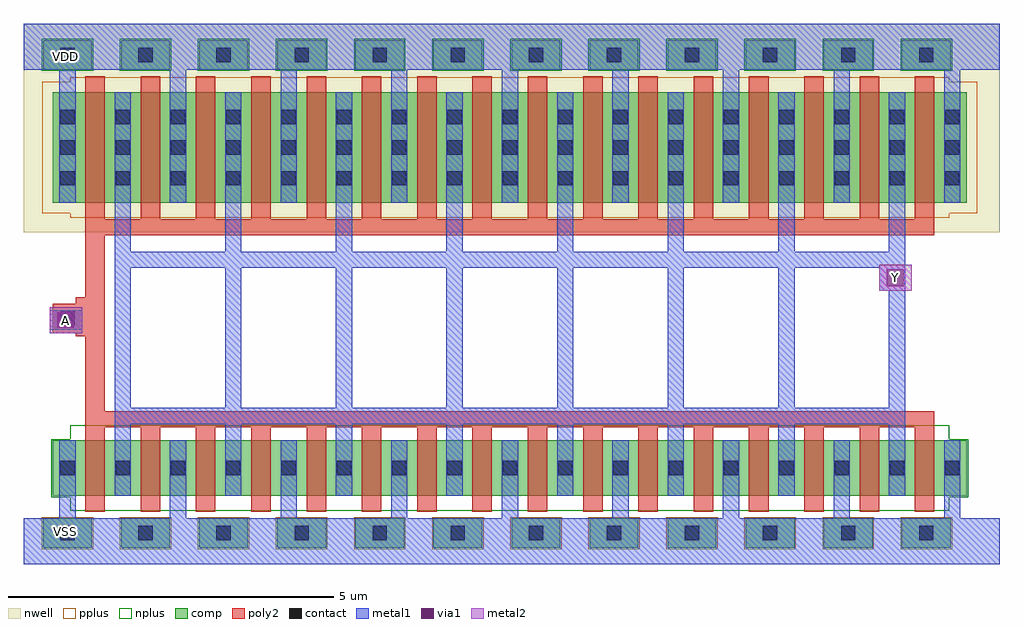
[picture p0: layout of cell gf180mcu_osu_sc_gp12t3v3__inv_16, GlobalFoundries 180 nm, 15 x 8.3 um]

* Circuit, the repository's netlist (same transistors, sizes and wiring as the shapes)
* Copyright 2022 Google LLC
*
* Licensed under the Apache License, Version 2.0 (the "License");
* you may not use this file except in compliance with the License.
* You may obtain a copy of the License at
*
*      http://www.apache.org/licenses/LICENSE-2.0
*
* Unless required by applicable law or agreed to in writing, software
* distributed under the License is distributed on an "AS IS" BASIS,
* WITHOUT WARRANTIES OR CONDITIONS OF ANY KIND, either express or implied.
* See the License for the specific language governing permissions and
* limitations under the License.

.option scale=0.05u

.subckt gf180mcu_osu_sc_gp12t3v3__inv_16 A Y
X0 VDD A Y VDD pmos_3p3 w=34 l=6
X1 Y A VDD VDD pmos_3p3 w=34 l=6
X2 Y A VSS VSS nmos_3p3 w=17 l=6
X3 VDD A Y VDD pmos_3p3 w=34 l=6
X4 Y A VSS VSS nmos_3p3 w=17 l=6
X5 VDD A Y VDD pmos_3p3 w=34 l=6
X6 Y A VDD VDD pmos_3p3 w=34 l=6
X7 Y A VDD VDD pmos_3p3 w=34 l=6
X8 VSS A Y VSS nmos_3p3 w=17 l=6
X9 VDD A Y VDD pmos_3p3 w=34 l=6
X10 VSS A Y VSS nmos_3p3 w=17 l=6
X11 Y A VDD VDD pmos_3p3 w=34 l=6
X12 Y A VSS VSS nmos_3p3 w=17 l=6
X13 Y A VSS VSS nmos_3p3 w=17 l=6
X14 Y A VSS VSS nmos_3p3 w=17 l=6
X15 Y A VSS VSS nmos_3p3 w=17 l=6
X16 VSS A Y VSS nmos_3p3 w=17 l=6
X17 VSS A Y VSS nmos_3p3 w=17 l=6
X18 Y A VSS VSS nmos_3p3 w=17 l=6
X19 Y A VSS VSS nmos_3p3 w=17 l=6
X20 VSS A Y VSS nmos_3p3 w=17 l=6
X21 VDD A Y VDD pmos_3p3 w=34 l=6
X22 Y A VDD VDD pmos_3p3 w=34 l=6
X23 VSS A Y VSS nmos_3p3 w=17 l=6
X24 VSS A Y VSS nmos_3p3 w=17 l=6
X25 VSS A Y VSS nmos_3p3 w=17 l=6
X26 Y A VDD VDD pmos_3p3 w=34 l=6
X27 VDD A Y VDD pmos_3p3 w=34 l=6
X28 Y A VDD VDD pmos_3p3 w=34 l=6
X29 VDD A Y VDD pmos_3p3 w=34 l=6
X30 VDD A Y VDD pmos_3p3 w=34 l=6
X31 Y A VDD VDD pmos_3p3 w=34 l=6
.ends

** hspice subcircuit dictionary

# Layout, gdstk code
import gdstk
lib = gdstk.Library(unit=1e-6, precision=1e-09)
def R(c, l, rs):  # rectangles x0, y0, x1, y1
    for r in rs: c.add(gdstk.rectangle(r[:2], r[2:], *l))
def A(c, l, x, y, w, h, nx, ny, dx, dy):  # array of equal rectangles
    R(c, l, [(x+i*dx, y+j*dy, x+i*dx+w, y+j*dy+h) for i in range(nx) for j in range(ny)])
nwell = (21, 0)
comp = (22, 0)
poly2 = (30, 0)
pplus = (31, 0)
nplus = (32, 0)
contact = (33, 0)
metal1 = (34, 0)
via1 = (35, 0)
metal2 = (36, 0)

gf180mcu_osu_sc_gp12t3v3 = lib.new_cell('gf180mcu_osu_sc_gp12t3v3__inv_16')
R(gf180mcu_osu_sc_gp12t3v3, nwell, [(0,5.1,15,8.3)])
A(gf180mcu_osu_sc_gp12t3v3, comp, 0.3, 0.25, 0.75, 0.45, 12, 2, 1.2, 7.35)
R(gf180mcu_osu_sc_gp12t3v3, comp, [(0.45,1.05,14.5,1.9), (0.45,5.55,14.5,7.25)])
A(gf180mcu_osu_sc_gp12t3v3, poly2, 0.95, 0.8, 0.3, 1.3, 16, 1, 0.85, 0)
A(gf180mcu_osu_sc_gp12t3v3, poly2, 0.95, 5.3, 0.3, 2.2, 16, 1, 0.85, 0)
R(gf180mcu_osu_sc_gp12t3v3, poly2, [(0.95,2.1,14,2.35), (0.95,2.35,1.25,3.5), (0.8,3.5,1.25,3.55), (0.45,3.55,1.25,4), (0.8,4,1.25,4.1), (0.95,4.1,1.25,5.05), (0.95,5.05,14,5.3)])
A(gf180mcu_osu_sc_gp12t3v3, pplus, 0.28, 0.23, 0.79, 0.49, 12, 1, 1.2, 0)
R(gf180mcu_osu_sc_gp12t3v3, pplus, [(0.72,5.32,14.23,5.39), (0.29,5.39,14.66,7.41), (0.72,7.41,14.23,7.48)])
A(gf180mcu_osu_sc_gp12t3v3, nplus, 0.28, 7.58, 0.79, 0.49, 12, 1, 1.2, 0)
R(gf180mcu_osu_sc_gp12t3v3, nplus, [(0.72,0.82,14.23,1.03), (0.43,1.03,14.52,1.92), (0.72,1.92,14.23,2.13)])
A(gf180mcu_osu_sc_gp12t3v3, contact, 0.565, 0.365, 0.22, 0.22, 12, 2, 1.2, 7.35)
A(gf180mcu_osu_sc_gp12t3v3, contact, 0.565, 1.365, 0.22, 0.22, 17, 2, 0.85, 4.455)
A(gf180mcu_osu_sc_gp12t3v3, contact, 0.565, 6.29, 0.22, 0.22, 17, 2, 0.85, 0.47)
R(gf180mcu_osu_sc_gp12t3v3, contact, [(0.565,3.665,0.785,3.885)])
A(gf180mcu_osu_sc_gp12t3v3, metal1, 0.55, 0.7, 0.25, 1.2, 9, 1, 1.7, 0)
A(gf180mcu_osu_sc_gp12t3v3, metal1, 1.4, 1.05, 0.25, 1.1, 8, 1, 1.7, 0)
A(gf180mcu_osu_sc_gp12t3v3, metal1, 1.4, 2.4, 0.25, 2.15, 7, 1, 1.7, 0)
A(gf180mcu_osu_sc_gp12t3v3, metal1, 1.4, 4.8, 0.25, 2.45, 8, 1, 1.7, 0)
A(gf180mcu_osu_sc_gp12t3v3, metal1, 0.55, 5.55, 0.25, 2.05, 9, 1, 1.7, 0)
R(gf180mcu_osu_sc_gp12t3v3, metal1, [(0,0,15,0.7), (1.4,2.15,13.55,2.4), (13.3,2.4,13.55,4.2), (0.4,3.6,0.9,3.9), (13.15,4.2,13.55,4.55), (1.4,4.55,13.55,4.8), (0,7.6,15,8.3)])
R(gf180mcu_osu_sc_gp12t3v3, via1, [(0.52,3.62,0.78,3.88), (13.27,4.27,13.53,4.53)])
R(gf180mcu_osu_sc_gp12t3v3, metal2, [(0.4,3.55,0.9,3.95), (13.15,4.2,13.65,4.6)])
gf180mcu_osu_sc_gp12t3v3.add(gdstk.Label('A', (0.65,3.75), layer=36, texttype=10))
gf180mcu_osu_sc_gp12t3v3.add(gdstk.Label('Y', (13.4,4.4), layer=36, texttype=10))
gf180mcu_osu_sc_gp12t3v3.add(gdstk.Label('VDD', (0.65,7.8), layer=34, texttype=10))
gf180mcu_osu_sc_gp12t3v3.add(gdstk.Label('VSS', (0.65,0.5), layer=34, texttype=10))

lib.write_gds('gf180mcu_osu_sc_gp12t3v3__inv_16.gds')
